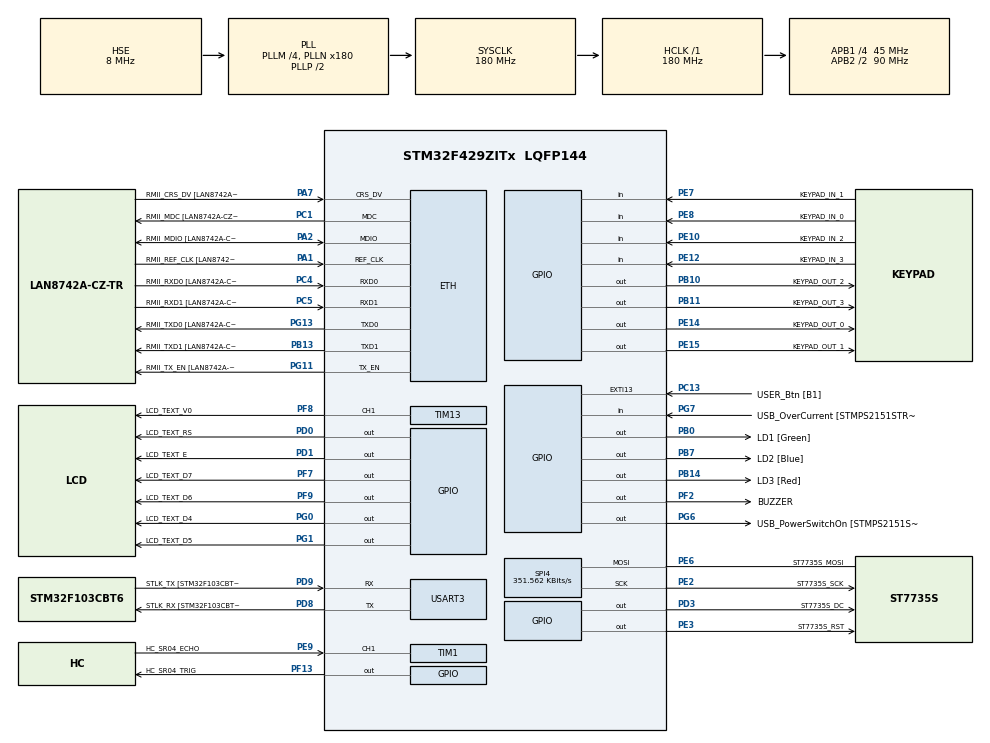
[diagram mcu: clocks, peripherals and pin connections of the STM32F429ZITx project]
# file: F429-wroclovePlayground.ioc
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ETH.MediaInterface=ETH_MEDIA_INTERFACE_RMII
ETH.PHY_Name=LAN8742A_PHY_ADDRESS
ETH.PHY_Value=0
ETH.PhyAddress=0
LWIP.GATEWAY_ADDRESS=192.168.000.001
LWIP.IP_ADDRESS=192.168.000.011
LWIP.LWIP_DHCP=0
LWIP.MEM_SIZE=10240
LWIP.NETMASK_ADDRESS=255.255.255.000
LWIP.Version=v2.1.2_Cube
Mcu.Family=STM32F4
Mcu.Name=STM32F429ZITx
Mcu.Package=LQFP144
NVIC.ETH_IRQn=true\:0\:0\:false\:false\:true\:true\:true
NVIC.EXTI15_10_IRQn=true\:0\:0\:false\:false\:true\:true\:true
NVIC.PriorityGroup=NVIC_PRIORITYGROUP_4
NVIC.TIM1_CC_IRQn=true\:0\:0\:false\:false\:true\:true\:true
PA1.GPIO_Label=RMII_REF_CLK [LAN8742A-CZ-TR_REFCLK0]
PA1.Mode=RMII
PA1.Signal=ETH_REF_CLK
PA10.GPIO_Label=USB_ID
PA10.Signal=USB_OTG_FS_ID
PA11.GPIO_Label=USB_DM
PA11.Signal=USB_OTG_FS_DM
PA12.GPIO_Label=USB_DP
PA12.Signal=USB_OTG_FS_DP
PA13.GPIO_Label=TMS
PA13.Mode=Serial_Wire
PA13.Signal=SYS_JTMS-SWDIO
PA14.GPIO_Label=TCK
PA14.Mode=Serial_Wire
PA14.Signal=SYS_JTCK-SWCLK
PA2.GPIO_Label=RMII_MDIO [LAN8742A-CZ-TR_MDIO]
PA2.Mode=RMII
PA2.Signal=ETH_MDIO
PA7.GPIO_Label=RMII_CRS_DV [LAN8742A-CZ-TR_CRS_DV]
PA7.Mode=RMII
PA7.Signal=ETH_CRS_DV
PA8.GPIO_Label=USB_SOF [TP1]
PA8.Signal=USB_OTG_FS_SOF
PA9.GPIO_Label=USB_VBUS
PA9.Signal=USB_OTG_FS_VBUS
PB0.GPIO_Label=LD1 [Green]
PB0.Signal=GPIO_Output
PB10.GPIO_Label=KEYPAD_OUT_2
PB10.Signal=GPIO_Output
PB11.GPIO_Label=KEYPAD_OUT_3
PB11.Signal=GPIO_Output
PB13.GPIO_Label=RMII_TXD1 [LAN8742A-CZ-TR_TXD1]
PB13.Mode=RMII
PB13.Signal=ETH_TXD1
PB14.GPIO_Label=LD3 [Red]
PB14.Signal=GPIO_Output
PB7.GPIO_Label=LD2 [Blue]
PB7.Signal=GPIO_Output
PC1.GPIO_Label=RMII_MDC [LAN8742A-CZ-TR_MDC]
PC1.Mode=RMII
PC1.Signal=ETH_MDC
PC13.GPIO_Label=USER_Btn [B1]
PC13.Signal=GPXTI13
PC14/OSC32_IN.Mode=LSE-External-Oscillator
PC14/OSC32_IN.Signal=RCC_OSC32_IN
PC15/OSC32_OUT.Mode=LSE-External-Oscillator
PC15/OSC32_OUT.Signal=RCC_OSC32_OUT
PC4.GPIO_Label=RMII_RXD0 [LAN8742A-CZ-TR_RXD0]
PC4.Mode=RMII
PC4.Signal=ETH_RXD0
PC5.GPIO_Label=RMII_RXD1 [LAN8742A-CZ-TR_RXD1]
PC5.Mode=RMII
PC5.Signal=ETH_RXD1
PD0.GPIO_Label=LCD_TEXT_RS
PD0.Signal=GPIO_Output
PD1.GPIO_Label=LCD_TEXT_E
PD1.Signal=GPIO_Output
PD3.GPIO_Label=ST7735S_DC
PD3.Signal=GPIO_Output
PD8.GPIO_Label=STLK_RX [STM32F103CBT6_PA3]
PD8.Mode=Asynchronous
PD8.Signal=USART3_TX
PD9.GPIO_Label=STLK_TX [STM32F103CBT6_PA2]
PD9.Mode=Asynchronous
PD9.Signal=USART3_RX
PE10.GPIO_Label=KEYPAD_IN_2
PE10.GPIO_PuPd=GPIO_PULLDOWN
PE10.Signal=GPIO_Input
PE12.GPIO_Label=KEYPAD_IN_3
PE12.GPIO_PuPd=GPIO_PULLDOWN
PE12.Signal=GPIO_Input
PE14.GPIO_Label=KEYPAD_OUT_0
PE14.Signal=GPIO_Output
PE15.GPIO_Label=KEYPAD_OUT_1
PE15.Signal=GPIO_Output
PE2.GPIO_Label=ST7735S_SCK
PE2.Mode=Simplex_Bidirectional_Master
PE2.Signal=SPI4_SCK
PE3.GPIO_Label=ST7735S_RST
PE3.Signal=GPIO_Output
PE6.GPIO_Label=ST7735S_MOSI
PE6.Mode=Simplex_Bidirectional_Master
PE6.Signal=SPI4_MOSI
PE7.GPIO_Label=KEYPAD_IN_1
PE7.GPIO_PuPd=GPIO_PULLDOWN
PE7.Signal=GPIO_Input
PE8.GPIO_Label=KEYPAD_IN_0
PE8.GPIO_PuPd=GPIO_PULLDOWN
PE8.Signal=GPIO_Input
PE9.GPIO_Label=HC_SR04_ECHO
PE9.Signal=S_TIM1_CH1
PF13.GPIO_Label=HC_SR04_TRIG
PF13.Signal=GPIO_Output
PF2.GPIO_Label=BUZZER
PF2.Signal=GPIO_Output
PF7.GPIO_Label=LCD_TEXT_D7
PF7.Signal=GPIO_Output
PF8.GPIO_Label=LCD_TEXT_V0
PF8.Signal=S_TIM13_CH1
PF9.GPIO_Label=LCD_TEXT_D6
PF9.Signal=GPIO_Output
PG0.GPIO_Label=LCD_TEXT_D4
PG0.Signal=GPIO_Output
PG1.GPIO_Label=LCD_TEXT_D5
PG1.Signal=GPIO_Output
PG11.GPIO_Label=RMII_TX_EN [LAN8742A-CZ-TR_TXEN]
PG11.Mode=RMII
PG11.Signal=ETH_TX_EN
PG13.GPIO_Label=RMII_TXD0 [LAN8742A-CZ-TR_TXD0]
PG13.Mode=RMII
PG13.Signal=ETH_TXD0
PG6.GPIO_Label=USB_PowerSwitchOn [STMPS2151STR_EN]
PG6.Signal=GPIO_Output
PG7.GPIO_Label=USB_OverCurrent [STMPS2151STR_FAULT]
PG7.Signal=GPIO_Input
PH0/OSC_IN.GPIO_Label=MCO [STM32F103CBT6_PA8]
PH0/OSC_IN.Mode=HSE-External-Clock-Source
PH0/OSC_IN.Signal=RCC_OSC_IN
PH1/OSC_OUT.Mode=HSE-External-Clock-Source
PH1/OSC_OUT.Signal=RCC_OSC_OUT
ProjectManager.HeapSize=0x200
ProjectManager.StackSize=0x400
ProjectManager.TargetToolchain=STM32CubeIDE
RCC.48MHZClocksFreq_Value=51428571.428571425
RCC.AHBFreq_Value=180000000
RCC.APB1CLKDivider=RCC_HCLK_DIV4
RCC.APB1Freq_Value=45000000
RCC.APB1TimFreq_Value=90000000
RCC.APB2CLKDivider=RCC_HCLK_DIV2
RCC.APB2Freq_Value=90000000
RCC.APB2TimFreq_Value=180000000
RCC.CortexFreq_Value=180000000
RCC.HCLKFreq_Value=180000000
RCC.HSE_VALUE=8000000
RCC.HSI_VALUE=16000000
RCC.PLLM=4
RCC.PLLMUL=RCC_PLL_MUL9
RCC.PLLN=180
RCC.PLLQ=7
RCC.PLLSourceVirtual=RCC_PLLSOURCE_HSE
RCC.PRESCALERUSB=RCC_USBCLKSOURCE_PLL_DIV1_5
RCC.RCC_RTC_Clock_Source=RCC_RTCCLKSOURCE_LSE
RCC.RCC_RTC_Clock_SourceVirtual=RCC_RTCCLKSOURCE_LSE
RCC.SYSCLKFreq_VALUE=180000000
RCC.SYSCLKSource=RCC_SYSCLKSOURCE_PLLCLK
RCC.SYSCLKSourceVirtual=RCC_SYSCLKSOURCE_PLLCLK
RCC.USBFreq_Value=48000000
RCC.VCOOutputFreq_Value=360000000
RTC.Date=7
RTC.Format=RTC_FORMAT_BIN
RTC.Hours=23
RTC.Minutes=5
RTC.Month=RTC_MONTH_NOVEMBER
RTC.WeekDay=RTC_WEEKDAY_SUNDAY
RTC.Year=21
SH.S_TIM13_CH1.0=TIM13_CH1,PWM Generation1 CH1
SH.S_TIM1_CH1.0=TIM1_CH1,Input_Capture1_from_TI1
SPI4.BaudRatePrescaler=SPI_BAUDRATEPRESCALER_256
SPI4.CalculateBaudRate=351.562 KBits/s
SPI4.Direction=SPI_DIRECTION_1LINE
SPI4.Mode=SPI_MODE_MASTER
SPI4.VirtualType=VM_MASTER
TIM1.Channel-Input_Capture1_from_TI1=TIM_CHANNEL_1
TIM1.Prescaler=180
TIM13.Channel=TIM_CHANNEL_1
TIM13.Period=100
TIM13.Prescaler=180
TIM13.Pulse=50
USART3.VirtualMode=VM_ASYNC
VP_LWIP_VS_Enabled.Mode=Enabled
VP_RTC_VS_RTC_Activate.Mode=RTC_Enabled
VP_RTC_VS_RTC_Calendar.Mode=RTC_Calendar
VP_TIM13_VS_ClockSourceINT.Mode=Enable_Timer
VP_TIM1_VS_ClockSourceINT.Mode=Internal
board=NUCLEO-F429ZI

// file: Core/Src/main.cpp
/* USER CODE BEGIN Header */
/**
  ******************************************************************************
  * @file           : main.c
  * @brief          : Main program body
  ******************************************************************************
  * @attention
  *
  * <h2><center>&copy; Copyright (c) 2021 STMicroelectronics.
  * All rights reserved.</center></h2>
  *
  * This software component is licensed by ST under BSD 3-Clause license,
  * the "License"; You may not use this file except in compliance with the
  * License. You may obtain a copy of the License at:
  *                        opensource.org/licenses/BSD-3-Clause
  *
  ******************************************************************************
  */
/* USER CODE END Header */
#include "main.h"
#include "lwip.h"
#include "rtc.h"
#include "spi.h"
#include "tim.h"
#include "usart.h"
#include "gpio.h"

/* USER CODE BEGIN Includes */
#include "HC_SR04.h"
#include "Keypad.h"
#include "HD44780.h"
#include "stdio.h"
#include "stdlib.h"
#include "TcpClient.h"
#include "ST7735s.h"
#include "tcpServerRAW.h"
/* USER CODE END Includes */

/* USER CODE BEGIN PV */
struct netif gnetif;

/* USER CODE END PV */

void SystemClock_Config(void);

int main(void)
{

  /* MCU Configuration--------------------------------------------------------*/

  /* Reset of all peripherals, Initializes the Flash interface and the Systick. */
  HAL_Init();

  /* Configure the system clock */
  SystemClock_Config();

  /* Initialize all configured peripherals */
  MX_GPIO_Init();
  MX_USART3_UART_Init();
  MX_RTC_Init();
  MX_LWIP_Init();
  MX_TIM13_Init();
  MX_SPI4_Init();
  MX_TIM1_Init();
  /* USER CODE BEGIN 2 */
  HAL_TIM_IC_Start_IT(&htim1, TIM_CHANNEL_1);
  HAL_TIM_PWM_Start(&htim13, TIM_CHANNEL_1);
  HAL_GPIO_TogglePin(LD1_GPIO_Port, LD1_Pin);
  HD44780 textDisplay;
  textDisplay.init();

  ST7735s graphicDisplay(hspi4);
  graphicDisplay.init();
  graphicDisplay.clearScreen();
  graphicDisplay.setOrientation(180);
  graphicDisplay.fillRect(0, 128, 128, 160, BLUE);

  graphicDisplay.gotoLine(2);
  HC_SR04 distanceSensor;
  uint8_t res = distanceSensor.read();
  graphicDisplay.writeInt(res);

  TcpClient tcpClient;
  tcpClient.init();

  tcp_server_init();

  RTC_DateTypeDef rtcDate;
  RTC_TimeTypeDef rtcTime;

  HAL_GPIO_TogglePin(LD2_GPIO_Port, LD2_Pin);

  char* text = new char[16];
  uint8_t old_seconds = 0;
  char old_c = 'y';

  Keypad pad;
  /* USER CODE END 2 */

  /* Infinite loop */
  /* USER CODE BEGIN WHILE */
  while (1)
  {
	  char c = pad.get_key();
	  if (old_c != c) {
		  old_c = c;
		  textDisplay.charXY(1, 13, c);
		  graphicDisplay.gotoLine(2);
		  uint8_t res = distanceSensor.read();
		  graphicDisplay.writeInt(res);
	  }
	  HAL_RTC_GetTime(&hrtc, &rtcTime, RTC_FORMAT_BIN);
	  HAL_RTC_GetDate(&hrtc, &rtcDate, RTC_FORMAT_BIN);
	  if (old_seconds != rtcTime.Seconds) {
		  old_seconds = rtcTime.Seconds;
		  sprintf(text, "20%02d-%02d-%02d", rtcDate.Year, rtcDate.Month, rtcDate.Date);
		  textDisplay.stringXY(0, 0, text);
		  sprintf(text, "%02d:%02d:%02d", rtcTime.Hours, rtcTime.Minutes, rtcTime.Seconds);
		  textDisplay.stringXY(1, 0, text);
		  HAL_GPIO_TogglePin(LD3_GPIO_Port, LD3_Pin);
	  }
	  ethernetif_input(&gnetif);
	  sys_check_timeouts();
    /* USER CODE END WHILE */

  }
}

void SystemClock_Config(void)
{
  RCC_OscInitTypeDef RCC_OscInitStruct = {0};
  RCC_ClkInitTypeDef RCC_ClkInitStruct = {0};

  /** Configure the main internal regulator output voltage
  */
  __HAL_RCC_PWR_CLK_ENABLE();
  __HAL_PWR_VOLTAGESCALING_CONFIG(PWR_REGULATOR_VOLTAGE_SCALE1);
  /** Initializes the RCC Oscillators according to the specified parameters
  * in the RCC_OscInitTypeDef structure.
  */
  RCC_OscInitStruct.OscillatorType = RCC_OSCILLATORTYPE_HSE|RCC_OSCILLATORTYPE_LSE;
  RCC_OscInitStruct.HSEState = RCC_HSE_BYPASS;
  RCC_OscInitStruct.LSEState = RCC_LSE_ON;
  RCC_OscInitStruct.PLL.PLLState = RCC_PLL_ON;
  RCC_OscInitStruct.PLL.PLLSource = RCC_PLLSOURCE_HSE;
  RCC_OscInitStruct.PLL.PLLM = 4;
  RCC_OscInitStruct.PLL.PLLN = 180;
  RCC_OscInitStruct.PLL.PLLP = RCC_PLLP_DIV2;
  RCC_OscInitStruct.PLL.PLLQ = 7;
  if (HAL_RCC_OscConfig(&RCC_OscInitStruct) != HAL_OK)
  {
    Error_Handler();
  }
  /** Activate the Over-Drive mode
  */
  if (HAL_PWREx_EnableOverDrive() != HAL_OK)
  {
    Error_Handler();
  }
  /** Initializes the CPU, AHB and APB buses clocks
  */
  RCC_ClkInitStruct.ClockType = RCC_CLOCKTYPE_HCLK|RCC_CLOCKTYPE_SYSCLK
                              |RCC_CLOCKTYPE_PCLK1|RCC_CLOCKTYPE_PCLK2;
  RCC_ClkInitStruct.SYSCLKSource = RCC_SYSCLKSOURCE_PLLCLK;
  RCC_ClkInitStruct.AHBCLKDivider = RCC_SYSCLK_DIV1;
  RCC_ClkInitStruct.APB1CLKDivider = RCC_HCLK_DIV4;
  RCC_ClkInitStruct.APB2CLKDivider = RCC_HCLK_DIV2;

  if (HAL_RCC_ClockConfig(&RCC_ClkInitStruct, FLASH_LATENCY_5) != HAL_OK)
  {
    Error_Handler();
  }
}

/* USER CODE BEGIN 4 */
void HAL_GPIO_EXTI_Callback(uint16_t GPIO_Pin) {
	HAL_GPIO_TogglePin(LD1_GPIO_Port, LD1_Pin);
}
/* USER CODE END 4 */

void Error_Handler(void)
{
  __disable_irq();
  while (1)
  {
  }
}

/************************ (C) COPYRIGHT STMicroelectronics *****END OF FILE****/
